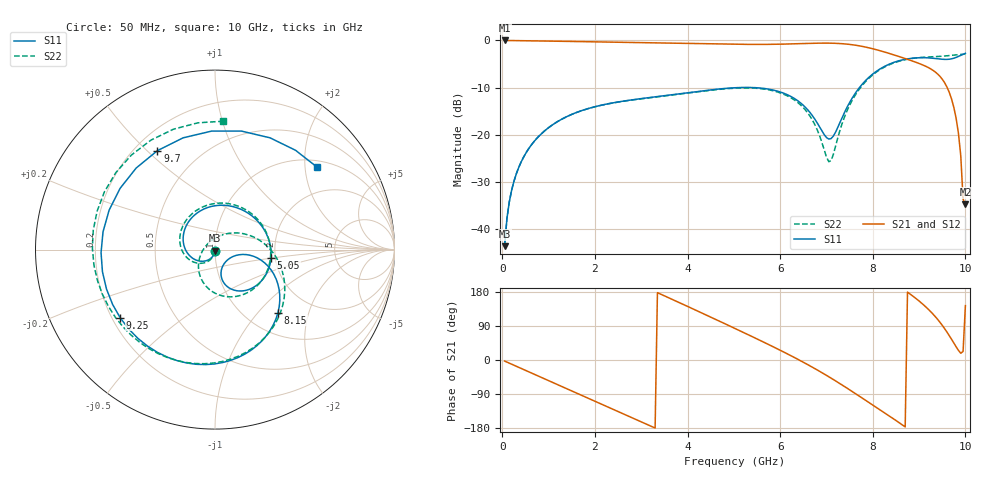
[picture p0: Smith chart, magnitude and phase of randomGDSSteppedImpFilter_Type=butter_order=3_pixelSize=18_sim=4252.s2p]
! freq	dB(S11)	phase(S11)	dB(S12)	phase(S12)
!  dB(S21)	phase(S21)	dB(S22)	phase(S22)
!S-par simulation data
#  GHz  S  DB  R 50
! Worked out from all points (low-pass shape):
!   200 points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, 50 MHz to 10 GHz, reference 50 ohm
!   highest |S21| = -0.01 dB at 50 MHz (marker M1); lowest = -34.8 dB at 10 GHz (marker M2)
!   |S21| within 3 dB of the highest: start of sweep to 8.436 GHz
!   lowest |S11| = -43.6 dB at 50 MHz (marker M3), VSWR 1.01, Z = 50 - j0.657 ohm
!   |S11| at or under -10 dB: start of sweep to 5.107 GHz; 5.424 GHz to 7.713 GHz (2.289 GHz wide, 34.9 % of centre)
!   |S22| runs from -43.6 to -2.9 dB; largest |S21 - S12| = 0
!   S11 on the Smith chart (normalised r, x): 50 MHz: 1.00, -0.01; 5.05 GHz: 1.90, -0.19; 8.15 GHz: 1.38, -1.29; 9.25 GHz: 0.23, -0.31; 9.7 GHz: 0.29, +0.54; 10 GHz: 1.16, +2.30
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0.05  -43.64 -90.5  -0.01 -2.8  -0.01 -2.8  -43.64 -89.8
0.2  -31.86 -101.3  -0.02 -11.0  -0.02 -11.0  -31.84 -99.3
0.5  -24.06 -120.1  -0.06 -27.3  -0.06 -27.3  -24.04 -115.1
1.15  -17.48 -159.1  -0.16 -62.6  -0.16 -62.6  -17.47 -147.6
1.75  -14.77 165.5  -0.26 -95.0  -0.26 -95.0  -14.78 -177.4
2.65  -12.82 113.8  -0.41 -143.8  -0.41 -143.8  -12.85 136.5
3.4  -11.85 73.1  -0.53 175.0  -0.53 175.0  -11.91 94.9
4.3  -10.73 27.9  -0.69 124.5  -0.69 124.5  -10.81 40.1
5.05  -10.02 -8.1  -0.82 81.8  -0.82 81.8  -10.11 -7.9
6  -10.93 -53.2  -0.80 25.8  -0.80 25.8  -11.12 -71.3
6.7  -16.01 -77.0  -0.61 -19.3  -0.61 -19.3  -16.95 -130.2
7.1  -20.82 -37.9  -0.58 -47.9  -0.58 -47.9  -25.51 115.9
7.6  -11.54 -13.0  -0.97 -86.6  -0.97 -86.6  -11.95 12.1
8.15  -6.09 -45.0  -2.16 -131.0  -2.16 -131.0  -6.23 -39.2
8.35  -5.06 -59.1  -2.74 -147.2  -2.74 -147.2  -5.18 -56.5
8.85  -3.78 -99.2  -4.35 170.1  -4.35 170.1  -3.82 -99.7
9.25  -3.73 -144.3  -6.03 127.7  -6.03 127.7  -3.49 -139.8
9.5  -3.99 171.0  -8.21 91.7  -8.21 91.7  -3.35 -172.8
9.7  -3.90 120.2  -12.38 54.9  -12.38 54.9  -3.16 152.3
9.85  -3.39 77.4  -19.71 25.4  -19.71 25.4  -3.02 120.4
9.95  -2.95 50.9  -33.65 22.4  -33.65 22.4  -2.94 97.7
10  -2.73 39.1  -34.80 143.4  -34.80 143.4  -2.90 86.5
